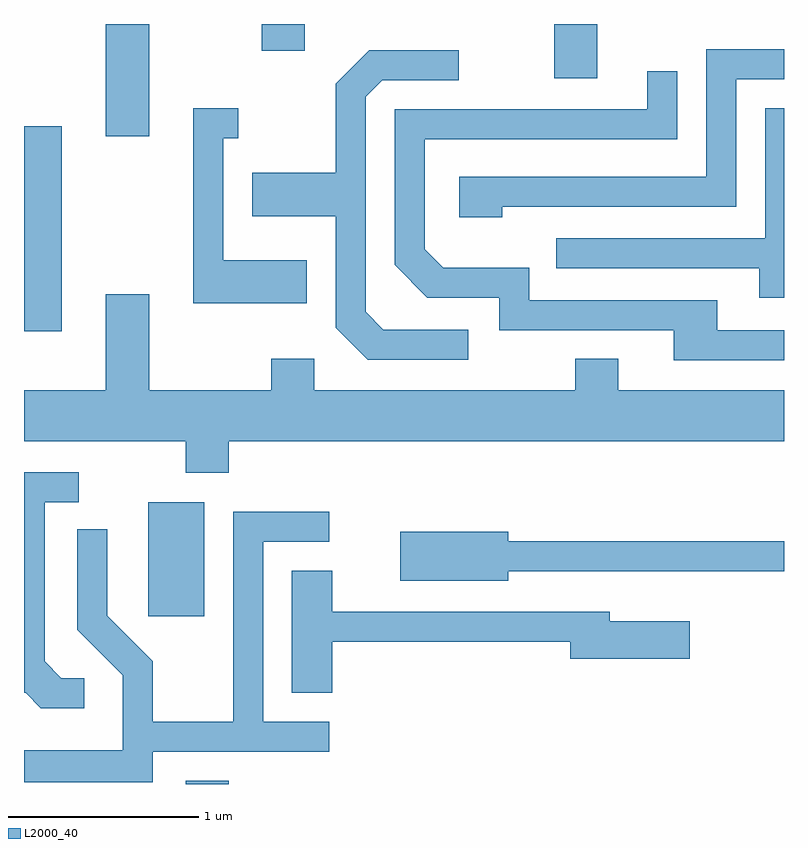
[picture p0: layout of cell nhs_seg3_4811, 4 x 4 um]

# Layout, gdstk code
import gdstk
lib = gdstk.Library(unit=1e-6, precision=1e-09)
def R(c, l, rs):  # rectangles x0, y0, x1, y1
    for r in rs: c.add(gdstk.rectangle(r[:2], r[2:], *l))
def P(c, l, *ps):  # polygons
    for p in ps: c.add(gdstk.Polygon(p, *l))
L2000_40 = (2000, 40)

nhs_seg3_4811 = lib.new_cell('nhs_seg3_4811')
R(nhs_seg3_4811, L2000_40, [(326.461,1221.892,326.689,1221.909), (326.266,1222.776,326.559,1223.374), (325.611,1224.276,325.809,1225.354), (326.041,1225.301,326.269,1225.892), (328.401,1225.606,328.629,1225.892), (326.861,1225.751,327.089,1225.892)])
P(nhs_seg3_4811, L2000_40, [(328.129,1224.931),(329.359,1224.931),(329.359,1225.601),(329.611,1225.601),(329.611,1225.759),(329.201,1225.759),(329.201,1225.089),(327.901,1225.089),(327.901,1224.876),(328.129,1224.876)],
  [(327.948,1224.284),(327.502,1224.284),(327.409,1224.377),(327.409,1225.509),(327.497,1225.596),(327.898,1225.596),(327.898,1225.754),(327.429,1225.754),(327.251,1225.577),(327.251,1225.109),(326.811,1225.109),(326.811,1224.881),(327.251,1224.881),(327.251,1224.294),(327.419,1224.126),(327.948,1224.126)],
  [(329.611,1224.279),(329.259,1224.279),(329.259,1224.439),(328.269,1224.439),(328.269,1224.609),(327.817,1224.609),(327.719,1224.707),(327.719,1225.286),(329.049,1225.286),(329.049,1225.643),(328.891,1225.643),(328.891,1225.444),(327.561,1225.444),(327.561,1224.624),(327.734,1224.451),(328.111,1224.451),(328.111,1224.281),(329.031,1224.281),(329.031,1224.121),(329.611,1224.121)],
  [(327.099,1224.649),(326.659,1224.649),(326.659,1225.291),(326.738,1225.291),(326.738,1225.449),(326.501,1225.449),(326.501,1224.421),(327.099,1224.421)],
  [(329.611,1225.449),(329.511,1225.449),(329.511,1224.764),(328.413,1224.764),(328.413,1224.606),(329.481,1224.606),(329.481,1224.451),(329.611,1224.451)],
  [(326.041,1224.469),(326.041,1223.964),(325.611,1223.964),(325.611,1223.696),(326.461,1223.696),(326.461,1223.531),(326.689,1223.531),(326.689,1223.696),(329.611,1223.696),(329.611,1223.964),(328.739,1223.964),(328.739,1224.129),(328.511,1224.129),(328.511,1223.964),(327.139,1223.964),(327.139,1224.129),(326.911,1224.129),(326.911,1223.964),(326.269,1223.964),(326.269,1224.469)],
  [(325.928,1222.449),(325.807,1222.449),(325.719,1222.537),(325.719,1223.376),(325.898,1223.376),(325.898,1223.534),(325.611,1223.534),(325.611,1222.371),(325.619,1222.371),(325.699,1222.291),(325.928,1222.291)],
  [(326.289,1222.061),(327.218,1222.061),(327.218,1222.219),(326.869,1222.219),(326.869,1223.166),(327.218,1223.166),(327.218,1223.324),(326.711,1223.324),(326.711,1222.219),(326.289,1222.219),(326.289,1222.537),(326.049,1222.777),(326.049,1223.233),(325.891,1223.233),(325.891,1222.704),(326.131,1222.464),(326.131,1222.069),(325.611,1222.069),(325.611,1221.901),(326.289,1221.901)],
  [(328.159,1223.011),(329.611,1223.011),(329.611,1223.169),(328.159,1223.169),(328.159,1223.219),(327.591,1223.219),(327.591,1222.961),(328.159,1222.961)],
  [(327.234,1222.641),(328.486,1222.641),(328.486,1222.551),(329.114,1222.551),(329.114,1222.749),(328.694,1222.749),(328.694,1222.799),(327.234,1222.799),(327.234,1223.014),(327.021,1223.014),(327.021,1222.371),(327.234,1222.371)])

lib.write_gds('nhs_seg3_4811.gds')
